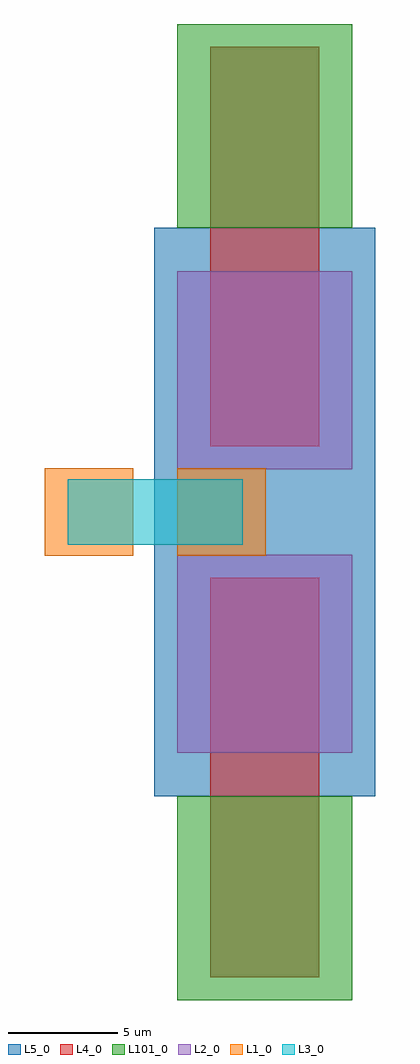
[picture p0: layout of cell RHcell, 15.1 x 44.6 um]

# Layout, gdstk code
import gdstk
lib = gdstk.Library(unit=1e-6, precision=1e-09)
def R(c, l, rs):  # rectangles x0, y0, x1, y1
    for r in rs: c.add(gdstk.rectangle(r[:2], r[2:], *l))
L1_0 = (1, 0)
L2_0 = (2, 0)
L3_0 = (3, 0)
L4_0 = (4, 0)
L5_0 = (5, 0)
L101_0 = (101, 0)

rhcell = lib.new_cell('RHcell')
R(rhcell, L1_0, [(-0.05,-2,4,2), (6,-2,10.05,2)])
R(rhcell, L2_0, [(6,-11,14,-1.95), (6,1.95,14,11)])
R(rhcell, L3_0, [(1,-1.5,5.05,1.5), (4.95,-1.5,9,1.5)])
R(rhcell, L4_0, [(7.5,-21.25,12.5,-11.95), (7.5,-12.05,12.5,-3), (7.5,3,12.5,12.05), (7.5,11.95,12.5,21.25)])
R(rhcell, L5_0, [(4.95,-13,15.05,13)])
R(rhcell, L101_0, [(6,-22.3,14,-13), (6,13,14,22.3)])

lib.write_gds('RHcell.gds')
